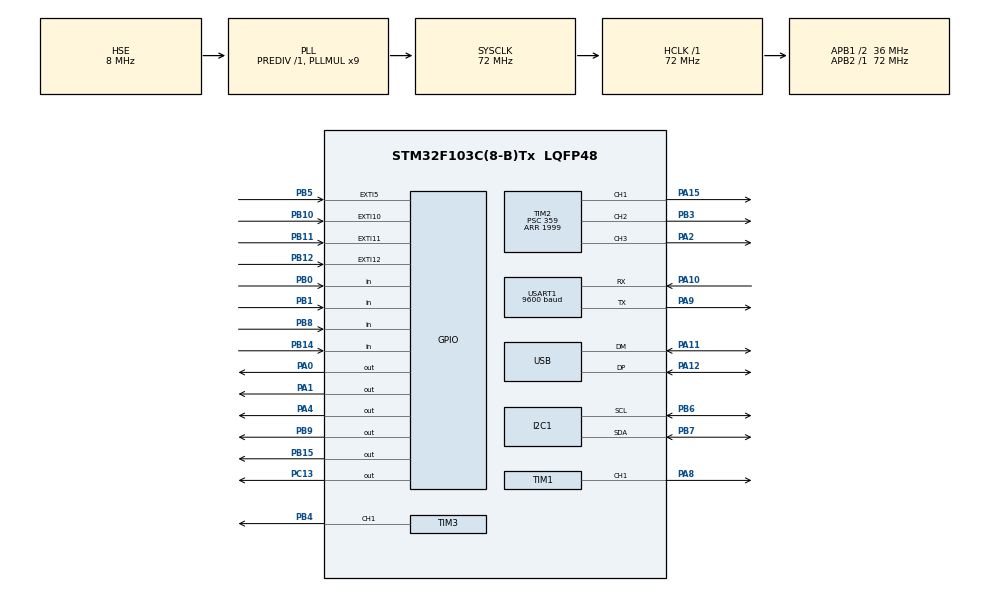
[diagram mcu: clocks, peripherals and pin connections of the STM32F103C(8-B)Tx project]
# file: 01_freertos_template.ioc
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FREERTOS.Tasks01=defaultTask,24,128,StartDefaultTask,Default,NULL,Dynamic,NULL,NULL
Mcu.Family=STM32F1
Mcu.Name=STM32F103C(8-B)Tx
Mcu.Package=LQFP48
NVIC.EXTI15_10_IRQn=true\:5\:0\:false\:false\:true\:false\:true\:true\:true
NVIC.PriorityGroup=NVIC_PRIORITYGROUP_4
NVIC.TIM4_IRQn=true\:15\:0\:false\:false\:true\:false\:false\:true\:true
NVIC.TimeBase=TIM4_IRQn
NVIC.TimeBaseIP=TIM4
NVIC.USART1_IRQn=true\:5\:0\:false\:false\:true\:true\:true\:true\:true
PA0-WKUP.Signal=GPIO_Output
PA1.GPIO_ModeDefaultOutputPP=GPIO_MODE_OUTPUT_OD
PA1.GPIO_PuPd=GPIO_PULLUP
PA1.Signal=GPIO_Output
PA10.Mode=Asynchronous
PA10.Signal=USART1_RX
PA11.Mode=Device
PA11.Signal=USB_DM
PA12.Mode=Device
PA12.Signal=USB_DP
PA13.Mode=Serial_Wire
PA13.Signal=SYS_JTMS-SWDIO
PA14.Mode=Serial_Wire
PA14.Signal=SYS_JTCK-SWCLK
PA15.Signal=S_TIM2_CH1_ETR
PA2.Signal=S_TIM2_CH3
PA4.Signal=GPIO_Output
PA8.Signal=S_TIM1_CH1
PA9.Mode=Asynchronous
PA9.Signal=USART1_TX
PB0.GPIO_PuPd=GPIO_PULLUP
PB0.Signal=GPIO_Input
PB1.GPIO_PuPd=GPIO_PULLUP
PB1.Signal=GPIO_Input
PB10.GPIO_ModeDefaultEXTI=GPIO_MODE_IT_RISING_FALLING
PB10.GPIO_PuPd=GPIO_PULLUP
PB10.Signal=GPXTI10
PB11.GPIO_PuPd=GPIO_PULLUP
PB11.Signal=GPXTI11
PB12.GPIO_ModeDefaultEXTI=GPIO_MODE_IT_RISING
PB12.Signal=GPXTI12
PB14.Signal=GPIO_Input
PB15.Signal=GPIO_Output
PB3.Signal=S_TIM2_CH2
PB4.Signal=S_TIM3_CH1
PB5.GPIO_PuPd=GPIO_PULLUP
PB5.Signal=GPXTI5
PB6.Mode=I2C
PB6.Signal=I2C1_SCL
PB7.Mode=I2C
PB7.Signal=I2C1_SDA
PB8.Signal=GPIO_Input
PB9.Signal=GPIO_Output
PC13-TAMPER-RTC.Signal=GPIO_Output
PC14-OSC32_IN.Signal=RCC_OSC32_IN
PC15-OSC32_OUT.Signal=RCC_OSC32_OUT
PD0-OSC_IN.Mode=HSE-External-Oscillator
PD0-OSC_IN.Signal=RCC_OSC_IN
PD1-OSC_OUT.Mode=HSE-External-Oscillator
PD1-OSC_OUT.Signal=RCC_OSC_OUT
ProjectManager.HeapSize=0x200
ProjectManager.StackSize=0x400
ProjectManager.TargetToolchain=MDK-ARM V5.32
RCC.ADCPresc=RCC_ADCPCLK2_DIV6
RCC.AHBFreq_Value=72000000
RCC.APB1CLKDivider=RCC_HCLK_DIV2
RCC.APB1Freq_Value=36000000
RCC.APB1TimFreq_Value=72000000
RCC.APB2Freq_Value=72000000
RCC.APB2TimFreq_Value=72000000
RCC.HCLKFreq_Value=72000000
RCC.PLLMUL=RCC_PLL_MUL9
RCC.PLLSourceVirtual=RCC_PLLSOURCE_HSE
RCC.SYSCLKFreq_VALUE=72000000
RCC.SYSCLKSource=RCC_SYSCLKSOURCE_PLLCLK
RCC.USBFreq_Value=48000000
RCC.USBPrescaler=RCC_USBCLKSOURCE_PLL_DIV1_5
SH.S_TIM1_CH1.0=TIM1_CH1,PWM Generation1 CH1
SH.S_TIM2_CH1_ETR.0=TIM2_CH1,PWM Generation1 CH1
SH.S_TIM2_CH2.0=TIM2_CH2,PWM Generation2 CH2
SH.S_TIM2_CH3.0=TIM2_CH3,PWM Generation3 CH3
SH.S_TIM3_CH1.0=TIM3_CH1,PWM Generation1 CH1
TIM1.AutoReloadPreload=TIM_AUTORELOAD_PRELOAD_ENABLE
TIM1.Channel-PWM\ Generation1\ CH1=TIM_CHANNEL_1
TIM1.Period=999
TIM1.Prescaler=71
TIM1.Pulse-PWM\ Generation1\ CH1=499
TIM2.AutoReloadPreload=TIM_AUTORELOAD_PRELOAD_ENABLE
TIM2.Channel-PWM\ Generation1\ CH1=TIM_CHANNEL_1
TIM2.Channel-PWM\ Generation2\ CH2=TIM_CHANNEL_2
TIM2.Channel-PWM\ Generation3\ CH3=TIM_CHANNEL_3
TIM2.Period=1999
TIM2.Prescaler=359
TIM3.AutoReloadPreload=TIM_AUTORELOAD_PRELOAD_ENABLE
TIM3.Channel-PWM\ Generation1\ CH1=TIM_CHANNEL_1
TIM3.Period=999
TIM3.Prescaler=7
TIM3.Pulse-PWM\ Generation1\ CH1=900
USART1.BaudRate=9600
USART1.VirtualMode=VM_ASYNC
VP_FREERTOS_VS_CMSIS_V2.Mode=CMSIS_V2
VP_SYS_VS_tim4.Mode=TIM4
VP_TIM1_VS_ClockSourceINT.Mode=Internal
VP_TIM2_VS_ClockSourceINT.Mode=Internal
board=custom

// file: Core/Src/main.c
/* USER CODE BEGIN Header */
/**
  ******************************************************************************
  * @file           : main.c
  * @brief          : Main program body
  ******************************************************************************
  * @attention
  *
  * Copyright (c) 2023 STMicroelectronics.
  * All rights reserved.
  *
  * This software is licensed under terms that can be found in the LICENSE file
  * in the root directory of this software component.
  * If no LICENSE file comes with this software, it is provided AS-IS.
  *
  ******************************************************************************
  */
/* USER CODE END Header */
#include "main.h"
#include "cmsis_os.h"
#include "i2c.h"
#include "tim.h"
#include "usart.h"
#include "usb.h"
#include "gpio.h"

void SystemClock_Config(void);
void MX_FREERTOS_Init(void);

int main(void)
{

  /* MCU Configuration--------------------------------------------------------*/

  /* Reset of all peripherals, Initializes the Flash interface and the Systick. */
  HAL_Init();

  /* Configure the system clock */
  SystemClock_Config();

  /* Initialize all configured peripherals */
  MX_GPIO_Init();
  MX_I2C1_Init();
  MX_USB_PCD_Init();
  MX_TIM1_Init();
  MX_TIM2_Init();
  MX_TIM3_Init();
  MX_USART1_UART_Init();

  /* Init scheduler */
  osKernelInitialize();  /* Call init function for freertos objects (in freertos.c) */
  MX_FREERTOS_Init();

  /* Start scheduler */
  osKernelStart();
  /* We should never get here as control is now taken by the scheduler */
  /* Infinite loop */
  while (1)
  {

  }
}

void SystemClock_Config(void)
{
  RCC_OscInitTypeDef RCC_OscInitStruct = {0};
  RCC_ClkInitTypeDef RCC_ClkInitStruct = {0};
  RCC_PeriphCLKInitTypeDef PeriphClkInit = {0};

  /** Initializes the RCC Oscillators according to the specified parameters
  * in the RCC_OscInitTypeDef structure.
  */
  RCC_OscInitStruct.OscillatorType = RCC_OSCILLATORTYPE_HSE;
  RCC_OscInitStruct.HSEState = RCC_HSE_ON;
  RCC_OscInitStruct.HSEPredivValue = RCC_HSE_PREDIV_DIV1;
  RCC_OscInitStruct.HSIState = RCC_HSI_ON;
  RCC_OscInitStruct.PLL.PLLState = RCC_PLL_ON;
  RCC_OscInitStruct.PLL.PLLSource = RCC_PLLSOURCE_HSE;
  RCC_OscInitStruct.PLL.PLLMUL = RCC_PLL_MUL9;
  if (HAL_RCC_OscConfig(&RCC_OscInitStruct) != HAL_OK)
  {
    Error_Handler();
  }

  /** Initializes the CPU, AHB and APB buses clocks
  */
  RCC_ClkInitStruct.ClockType = RCC_CLOCKTYPE_HCLK|RCC_CLOCKTYPE_SYSCLK
                              |RCC_CLOCKTYPE_PCLK1|RCC_CLOCKTYPE_PCLK2;
  RCC_ClkInitStruct.SYSCLKSource = RCC_SYSCLKSOURCE_PLLCLK;
  RCC_ClkInitStruct.AHBCLKDivider = RCC_SYSCLK_DIV1;
  RCC_ClkInitStruct.APB1CLKDivider = RCC_HCLK_DIV2;
  RCC_ClkInitStruct.APB2CLKDivider = RCC_HCLK_DIV1;

  if (HAL_RCC_ClockConfig(&RCC_ClkInitStruct, FLASH_LATENCY_2) != HAL_OK)
  {
    Error_Handler();
  }
  PeriphClkInit.PeriphClockSelection = RCC_PERIPHCLK_USB;
  PeriphClkInit.UsbClockSelection = RCC_USBCLKSOURCE_PLL_DIV1_5;
  if (HAL_RCCEx_PeriphCLKConfig(&PeriphClkInit) != HAL_OK)
  {
    Error_Handler();
  }
}

void HAL_TIM_PeriodElapsedCallback(TIM_HandleTypeDef *htim)
{
  if (htim->Instance == TIM4) {
    HAL_IncTick();
  }
}

void Error_Handler(void)
{
  __disable_irq();
  while (1)
  {
  }
}

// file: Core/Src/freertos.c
/* USER CODE BEGIN Header */
#include "driver_led.h"
#include "driver_lcd.h"
#include "driver_mpu6050.h"
#include "driver_timer.h"
#include "driver_ds18b20.h"
#include "driver_dht11.h"
#include "driver_active_buzzer.h"
#include "driver_passive_buzzer.h"
#include "driver_color_led.h"
//#include "driver_ir_receiver.h"
#include "driver_ir_sender.h"
//#include "driver_light_sensor.h"
//#include "driver_ir_obstacle.h"
//#include "driver_ultrasonic_sr04.h"
//#include "driver_spiflash_w25q64.h"
#include "driver_rotary_encoder.h"
#include "driver_motor.h"
#include "driver_key.h"
#include "driver_uart.h"
#include "driver_bluetooth.h"
#include <usart.h>
#include "typedefs.h"

/**
  ******************************************************************************
  * File Name          : freertos.c
  * Description        : Code for freertos applications
  ******************************************************************************
  * @attention
  *
  * Copyright (c) 2023 STMicroelectronics.
  * All rights reserved.
  *
  * This software is licensed under terms that can be found in the LICENSE file
  * in the root directory of this software component.
  * If no LICENSE file comes with this software, it is provided AS-IS.
  *
  ******************************************************************************
  */
/* USER CODE END Header */

#include "FreeRTOS.h"
#include "task.h"
#include "main.h"
#include "cmsis_os.h"

/* USER CODE BEGIN Includes */
#include "queue.h"
/* USER CODE END Includes */

/* USER CODE BEGIN PM */

//static uint8_t rxData;
//static uint8_t rxMusicData;

//// 串口接收完成回调函数
//void HAL_UART_RxCpltCallback(UART_HandleTypeDef *huart)
//{
//    if(huart->Instance == USART1)  // 判断是哪个串口
//    {
//        // 在这里处理收到的数据
//          rxMusicData = rxData;
//          rxData = 0x00;
//        // 重要！如果要继续接收，必须重新开启
//        HAL_UART_Receive_IT(&huart1, &rxData, 1);
//    }
//}

/* USER CODE END PM */

/* USER CODE BEGIN Variables */
static TaskHandle_t  SoundStaticTask ;
static TaskHandle_t  SoundInsideTask = NULL;
//static UBaseType_t reg;

static StackType_t g_pucStackOfLightTask[128];
static StaticTask_t g_TCBofLightTask;
static TaskHandle_t xLightTaskHandle;

static StackType_t g_pucStackOfColorTask[128];
static StaticTask_t g_TCBofColorTask;
static TaskHandle_t xColorTaskHandle;

void game1_task(void *params);

/* USER CODE END Variables */
/* Definitions for defaultTask */
osThreadId_t defaultTaskHandle;
const osThreadAttr_t defaultTask_attributes = {
  .name = "defaultTask",
  .stack_size = 128 * 4,
  .priority = (osPriority_t) osPriorityNormal,
};

/* USER CODE BEGIN FunctionPrototypes */

QueueHandle_t g_xQueueMusic; /* 音乐队列 */

void MusicTask(void *argument)
{
  while(1)
  {
    BadApple_Play();
    vTaskDelay(50);
  }

}

void SoundTask(void *argument)
{

  PassiveBuzzer_Init();
  uint8_t Running = 1;
 //
  g_xQueueMusic = xQueueCreate(10, sizeof(struct music_data));

  struct music_data bdata;
//  struct input_data bdata;
   uint8_t  b_data, b_last_data;

// HAL_UART_Receive_IT(&huart1, &rxData, 1);
//  LCD_Clear();
//  LCD_PrintString(6, 0, "Ready");

  while(1)
  {

  		if (pdPASS == xQueueReceive(g_xQueueMusic, &bdata, portMAX_DELAY))
		{
		  b_data = bdata.val;
            if (b_data == 0x01) /* 暂停/启动 */
            {
				b_data = 0x00;
                 extern void MusicTask(void *argument);

				  if(SoundInsideTask == NULL)
				  {
					/* 创建任务 */

//			        LCD_Clear();
//			        LCD_PrintString(0, 0, "Creat Task");

						xTaskCreate(MusicTask, "BadApple", 128, NULL, osPriorityNormal + 1 , &SoundInsideTask);

					  }
				  else
				  {
						if(Running)
						{
//				          LCD_Clear();
//				          LCD_PrintString(0, 0, "Suspend Task");

						  vTaskSuspend(SoundInsideTask);
						  PassiveBuzzer_Control(0);
						  Running = 0;
						}
						else
						{
				//          LCD_Clear();
				//          LCD_PrintString(0, 0, "Resume Task");

						  vTaskResume(SoundInsideTask);
						  Running = 1;
						}
					}
			}
            if (b_data == 0x02)  /* 删除 */
            {
				b_data = 0x00;
                if(SoundInsideTask != NULL)
				  {
			//        LCD_Clear();
			//        LCD_PrintString(0, 0, "Delete Task");

					vTaskDelete(SoundInsideTask);
					SoundInsideTask = NULL;
					PassiveBuzzer_Control(0);
				  }

			vTaskDelay(50);
            }
			}

//    /* 启动/暂停 信号 */
//    if(0x01 == rxMusicData)
//    {
//      rxMusicData = 0x00;
//      /* 创建任务 */
//
//
//    }
//    /* 删除信号 */
//    if(0x02 == rxMusicData)
//    {
//      rxMusicData = 0x00;

  }

}

/* USER CODE END FunctionPrototypes */

void StartDefaultTask(void *argument);

void MX_FREERTOS_Init(void); /* (MISRA C 2004 rule 8.1) */

void MX_FREERTOS_Init(void) {
  /* USER CODE BEGIN Init */
  LCD_Init();
  LCD_Clear();

  BTReceiver_Init();
  LCD_PrintString(0, 0, "Starting");

  /* USER CODE END Init */

  /* Create the thread(s) */
  /* creation of defaultTask */
  //defaultTaskHandle = osThreadNew(StartDefaultTask, NULL, &defaultTask_attributes);

  /* USER CODE BEGIN RTOS_THREADS */
  /* add threads, ... */

  /* 创建任务: 声 */
//  extern void PlayMusic(void *params);
//  xTaskCreate(PlayMusic, "MusicTask", 128, NULL, osPriorityNormal, NULL);
  xTaskCreate(SoundTask, "Sound", 128, NULL, osPriorityNormal , &SoundStaticTask);

  xTaskCreate(game1_task, "GameTask", 128, NULL, osPriorityNormal, NULL);

  /* 创建任务: 光 */
  //xLightTaskHandle = xTaskCreateStatic(Led_Test, "LightTask", 128, NULL, osPriorityNormal, g_pucStackOfLightTask, &g_TCBofLightTask);

  /* 创建任务: 色 */
  //xColorTaskHandle = xTaskCreateStatic(ColorLED_Test, "ColorTask", 128, NULL, osPriorityNormal, g_pucStackOfColorTask, &g_TCBofColorTask);

  /* USER CODE END RTOS_THREADS */

}

void StartDefaultTask(void *argument)
{
  /* USER CODE BEGIN StartDefaultTask */
  /* Infinite loop */
	vTaskDelay(20);
  /* USER CODE END StartDefaultTask */
}
